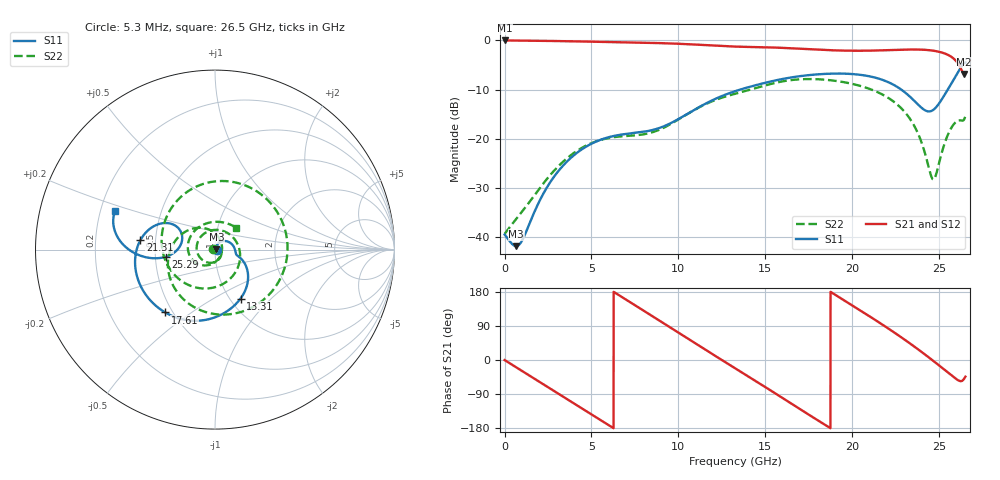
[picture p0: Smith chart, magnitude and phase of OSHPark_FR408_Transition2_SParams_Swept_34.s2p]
! TOUCHSTONE file generated by CST MICROWAVE STUDIO
! Date and time: Tue Jan  7 09:43:52 2020
! Project name: OSHPark_FR408_Transition2.cst
! Parameters = {GND_Plane_XMax=12.75; Cap_Disk_XOffset=0; Cap_Disk2_YCenter=-1.03; Cap_Disk_YCenter=1.03; Cap_Disk_XCenter=7.39; Cap_Disk_Radius=0.5; BottomSupport_Left_YMax=4.76; BottomSupport_Left_YMin=3.74; BottomSupport_Right_YMax=-3.74; BottomSupport_Right_YMin=-4.76; BottomSupport_XMax=11.64; 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
! Header version: 2015
! Port assignment regex: !\s*Touchstone port\s*([0-9]+)\s*=\s*CST MWS port\s*([0-9]+)\s*\(\"(.*)\"\)(\s*mode\s*([0-9]+))?.*
! Touchstone port assignment:
! Touchstone port 1 = CST MWS port 1 ("")
! Touchstone port 2 = CST MWS port 2 ("")
# GHz S MA R 50
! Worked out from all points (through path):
!   5000 points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, 5.3 MHz to 26.5 GHz, reference 50 ohm
!   highest |S21| = 0.00 dB at 10.6 MHz (marker M1); lowest = -6.8 dB at 26.43 GHz (marker M2)
!   group delay of S21, straight-line fit = 81 ps
!   lowest |S11| = -41.8 dB at 667.8 MHz (marker M3), VSWR 1.02, Z = 50.8 + j0.15 ohm
!   |S11| at or under -10 dB: start of sweep to 13.53 GHz; 22.82 GHz to 25.48 GHz (2.66 GHz wide, 11 % of centre)
!   |S22| runs from -39.3 to -7.8 dB; largest |S21 - S12| = 0
!   S11 on the Smith chart (normalised r, x): 5.3 MHz: 1.02, -0.01; 13.31 GHz: 1.12, -0.67; 17.61 GHz: 0.46, -0.40; 21.31 GHz: 0.41, +0.05; 25.29 GHz: 0.57, -0.05; 26.5 GHz: 0.26, +0.18
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0.0053  0.01071 -27.7  0.9999 -0.2  0.9999 -0.2  0.0109 149.8
0.0106  0.01069 -28.0  0.9999 -0.3  0.9999 -0.3  0.01091 149.8
0.6678  0.008156 10.4  0.9976 -19.2  0.9976 -19.2  0.01533 94.0
2.6235  0.03628 63.4  0.9886 -75.3  0.9886 -75.3  0.04292 -33.4
4.4255  0.07801 37.1  0.9764 -127.1  0.9764 -127.1  0.08077 -115.6
6.5508  0.1095 3.0  0.9602 172.0  0.9602 172.0  0.1056 151.5
8.8404  0.1281 -14.8  0.9408 105.8  0.9408 105.8  0.1227 29.8
11.2943  0.2155 -33.0  0.902 34.5  0.902 34.5  0.2139 -94.4
13.2553  0.3053 -61.5  0.8665 -21.4  0.8665 -21.4  0.2874 -173.0
13.3136  0.3076 -62.4  0.8658 -23.1  0.8658 -23.1  0.2892 -175.2
15.476  0.3893 -95.1  0.8479 -85.5  0.8479 -85.5  0.3678 104.7
17.6119  0.4467 -128.4  0.8124 -147.6  0.8124 -147.6  0.4056 14.8
17.6702  0.4477 -129.3  0.8114 -149.3  0.8114 -149.3  0.4055 12.3
19.557  0.4602 -159.0  0.7883 156.7  0.7883 156.7  0.376 -68.0
21.3113  0.4195 172.9  0.7901 105.8  0.7901 105.8  0.3061 -140.3
22.0851  0.3758 161.2  0.7976 82.6  0.7976 82.6  0.2599 -172.6
23.5426  0.2457 149.1  0.8094 36.2  0.8094 36.2  0.1375 118.8
24.6185  0.1954 174.0  0.7889 -1.1  0.7889 -1.1  0.03912 1.9
25.2863  0.2771 -171.7  0.7402 -25.4  0.7402 -25.4  0.08817 -107.8
26.0548  0.4679 -179.0  0.5897 -52.7  0.5897 -52.7  0.153 171.0
26.4311  0.5908 163.7  0.4566 -49.1  0.4566 -49.1  0.1583 73.5
26.5  0.597 158.4  0.4709 -44.0  0.4709 -44.0  0.1715 43.1
